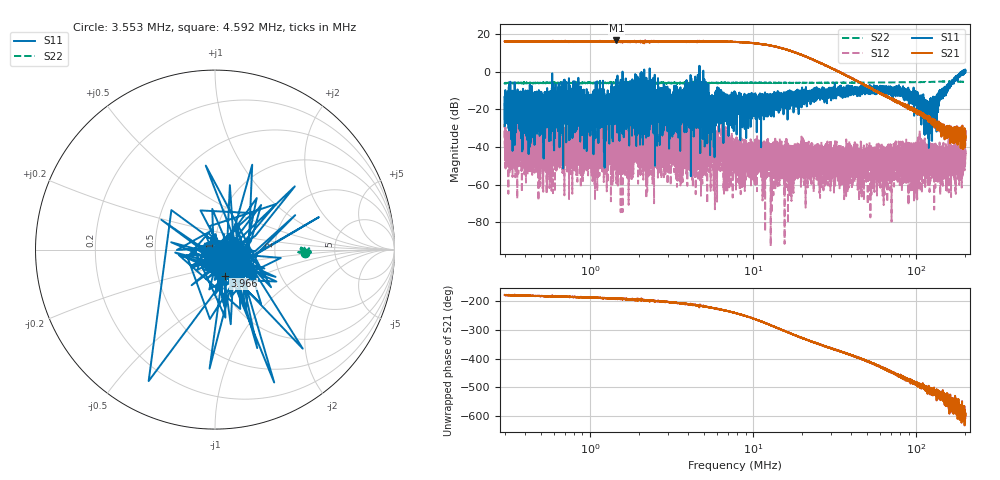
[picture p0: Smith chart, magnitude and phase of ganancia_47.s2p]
# Hz S DB R 50
! CMT, M5065, 19127446, 24.2.4/2
! Date: 11/1/2024 3:41:02 PM
! Data: Format (Calibration Info)
! Freq	S11:dB/Ang(F2)	S21:dB/Ang(F2)	S12:dB/Ang(F2)	S22:dB/Ang(F2)
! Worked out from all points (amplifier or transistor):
!   9000 points, 300 kHz to 200 MHz, reference 50 ohm
!   highest |S21| = 16.5 dB at 1.453 MHz (marker M1)
!   |S21| within 3 dB of that: start of sweep to 13.2 MHz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
!   unconditionally stable (mu >= 1): 2.624 MHz to 4.26 MHz; 4.99 MHz to 190.3 MHz; 191.1 MHz to 192.8 MHz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
!   at 886.8 kHz: K = 10.56, MAG = 17.2 dB, |S12| = -44.9 dB
!   at 7.749 MHz: K = 3.81, MAG = 17.0 dB, |S12| = -35.9 dB
!   at 200 MHz: K = -378.53, MSG = 5.8 dB, |S12| = -46.7 dB
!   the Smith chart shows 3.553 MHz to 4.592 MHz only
!   S11 on the Smith chart (normalised r, x): 3.553 MHz: 1.44, -0.43; 3.966 MHz: 1.06, -0.32; 4.592 MHz: 1.30, +0.09
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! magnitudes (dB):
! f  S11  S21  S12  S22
! 300 kHz  -28.8  16.0  -35.4  -5.9
! 310.1 kHz  -20.9  16.0  -49.2  -6.0
! 317.6 kHz  -23.0  16.0  -33.5  -5.9
! 460.5 kHz  -16.9  15.9  -39.9  -6.1
! 689.6 kHz  -19.6  16.0  -51.0  -6.1
! 886.8 kHz  -24.7  15.9  -44.9  -6.0
! 1.453 MHz  -4.1  16.5  -58.7  -6.0
! 1.938 MHz  -14.1  15.8  -35.1  -6.2
! 2.621 MHz  -18.9  15.9  -34.3  -6.3
! 3.553 MHz  -12.1  15.9  -42.6  -6.0
! 3.966 MHz  -16.2  16.0  -49.2  -6.0
! 4.592 MHz  -17.4  15.8  -44.7  -6.0
! 5.63 MHz  -22.3  15.9  -44.2  -6.0
! 7.749 MHz  -20.6  15.7  -35.9  -5.9
! 11.7 MHz  -15.7  14.4  -45.6  -6.0
! 13.46 MHz  -13.0  13.5  -53.4  -6.0
! 22.91 MHz  -12.7  6.6  -41.3  -5.9
! 67.71 MHz  -9.3  -13.7  -52.3  -5.7
! 97.24 MHz  -15.8  -20.8  -44.5  -5.6
! 121.9 MHz  -15.4  -25.9  -58.2  -5.5
! 142.4 MHz  -13.6  -30.7  -50.0  -5.3
! 200 MHz  0.4  -35.1  -46.7  -5.4
